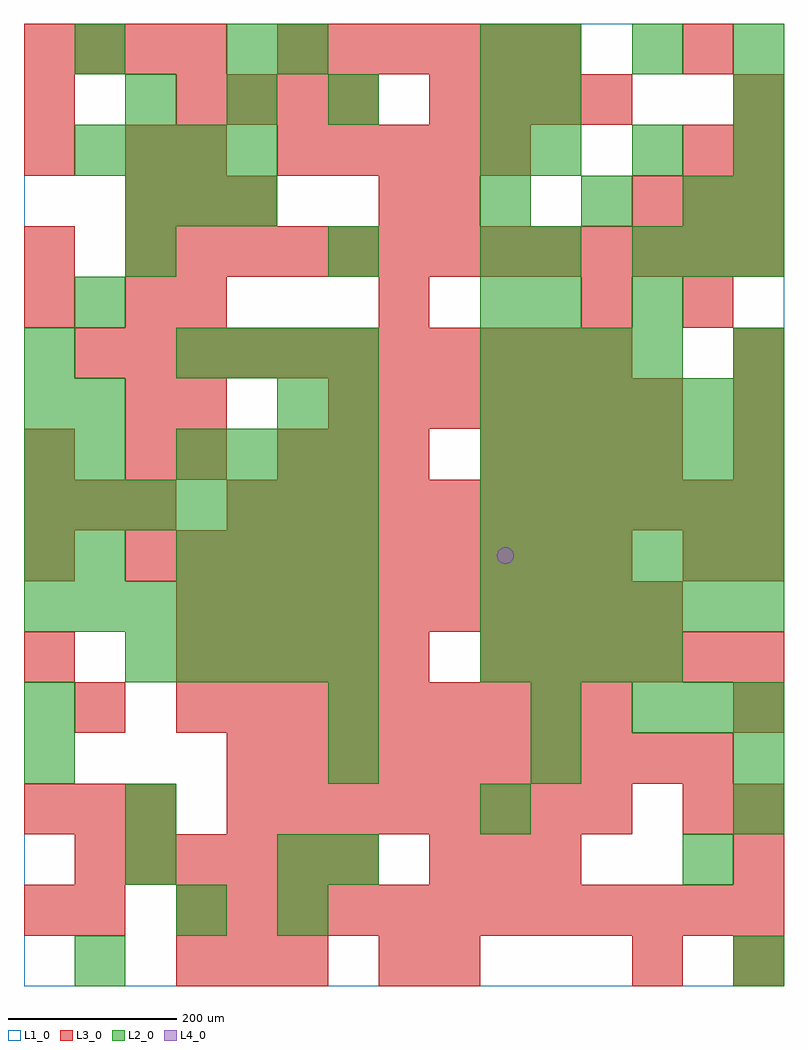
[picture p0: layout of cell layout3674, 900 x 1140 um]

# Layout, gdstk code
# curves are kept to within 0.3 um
import gdstk
lib = gdstk.Library(unit=1e-6, precision=1e-09)
def R(c, l, rs):  # rectangles x0, y0, x1, y1
    for r in rs: c.add(gdstk.rectangle(r[:2], r[2:], *l))
def A(c, l, x, y, w, h, nx, ny, dx, dy):  # array of equal rectangles
    R(c, l, [(x+i*dx, y+j*dy, x+i*dx+w, y+j*dy+h) for i in range(nx) for j in range(ny)])
def P(c, l, *ps):  # polygons
    for p in ps: c.add(gdstk.Polygon(p, *l))
L1_0 = (1, 0)
L2_0 = (2, 0)
L3_0 = (3, 0)
L4_0 = (4, 0)

layout3674 = lib.new_cell('layout3674')
R(layout3674, L1_0, [(0,0,900,1140)])
A(layout3674, L2_0, 360, 240, 60, 60, 3, 1, 240, 0)
A(layout3674, L2_0, 720, 300, 60, 60, 3, 2, 60, 540)
A(layout3674, L2_0, 120, 360, 60, 60, 5, 1, 60, 0)
A(layout3674, L2_0, 540, 360, 60, 60, 4, 2, 60, 360)
A(layout3674, L2_0, 0, 420, 60, 60, 7, 2, 60, 120)
A(layout3674, L2_0, 540, 420, 60, 60, 6, 5, 60, 60)
A(layout3674, L2_0, 180, 480, 60, 60, 4, 3, 60, 120)
A(layout3674, L2_0, 0, 600, 60, 60, 1, 3, 0, 60)
A(layout3674, L2_0, 120, 900, 60, 60, 3, 1, 60, 0)
A(layout3674, L2_0, 540, 900, 60, 60, 3, 1, 120, 0)
A(layout3674, L2_0, 60, 960, 60, 60, 4, 1, 60, 0)
A(layout3674, L2_0, 540, 960, 60, 60, 1, 3, 0, 60)
A(layout3674, L2_0, 600, 960, 60, 60, 3, 2, 120, 120)
A(layout3674, L2_0, 120, 1020, 60, 60, 3, 1, 120, 0)
R(layout3674, L2_0, [(60,0,120,60), (840,0,900,60), (180,60,240,120), (300,60,360,120), (120,120,180,180), (300,120,360,180), (360,120,420,180), (780,120,840,180), (120,180,180,240), (540,180,600,240), (840,180,900,240), (0,240,60,300), (0,300,60,360), (360,300,420,360), (600,300,660,360), (0,480,60,540), (60,480,120,540), (60,600,120,660), (60,660,120,720), (300,660,360,720), (360,660,420,720), (840,720,900,780), (60,780,120,840), (540,780,600,840), (600,780,660,840), (720,780,780,840), (120,840,180,900), (360,840,420,900), (540,840,600,900), (600,840,660,900), (840,900,900,960), (600,1020,660,1080), (840,1020,900,1080), (60,1080,120,1140), (240,1080,300,1140), (300,1080,360,1140)])
A(layout3674, L3_0, 180, 0, 60, 60, 3, 1, 60, 0)
A(layout3674, L3_0, 180, 60, 60, 60, 12, 1, 60, 0)
A(layout3674, L3_0, 60, 120, 60, 60, 6, 1, 60, 0)
A(layout3674, L3_0, 480, 120, 60, 60, 3, 1, 60, 0)
A(layout3674, L3_0, 0, 180, 60, 60, 3, 2, 60, 360)
A(layout3674, L3_0, 240, 180, 60, 60, 8, 1, 60, 0)
A(layout3674, L3_0, 780, 180, 60, 60, 1, 3, 0, 300)
A(layout3674, L3_0, 240, 240, 60, 60, 10, 1, 60, 0)
A(layout3674, L3_0, 180, 300, 60, 60, 9, 1, 60, 0)
A(layout3674, L3_0, 0, 360, 60, 60, 1, 3, 0, 120)
A(layout3674, L3_0, 180, 360, 60, 60, 5, 1, 60, 0)
A(layout3674, L3_0, 540, 360, 60, 60, 6, 1, 60, 0)
A(layout3674, L3_0, 180, 420, 60, 60, 10, 1, 60, 0)
A(layout3674, L3_0, 120, 480, 60, 60, 10, 1, 60, 0)
A(layout3674, L3_0, 240, 540, 60, 60, 11, 1, 60, 0)
A(layout3674, L3_0, 300, 600, 60, 60, 3, 1, 60, 0)
A(layout3674, L3_0, 540, 600, 60, 60, 4, 1, 60, 0)
A(layout3674, L3_0, 840, 600, 60, 60, 1, 3, 0, 60)
A(layout3674, L3_0, 360, 660, 60, 60, 7, 1, 60, 0)
A(layout3674, L3_0, 60, 720, 60, 60, 11, 1, 60, 0)
A(layout3674, L3_0, 180, 780, 60, 60, 3, 1, 240, 0)
A(layout3674, L3_0, 120, 840, 60, 60, 13, 1, 60, 0)
A(layout3674, L3_0, 120, 900, 60, 60, 3, 1, 60, 0)
A(layout3674, L3_0, 720, 900, 60, 60, 3, 1, 60, 0)
A(layout3674, L3_0, 300, 960, 60, 60, 5, 1, 60, 0)
A(layout3674, L3_0, 180, 1020, 60, 60, 4, 1, 60, 0)
A(layout3674, L3_0, 480, 1020, 60, 60, 4, 1, 60, 0)
A(layout3674, L3_0, 0, 1080, 60, 60, 4, 1, 60, 0)
A(layout3674, L3_0, 300, 1080, 60, 60, 6, 1, 60, 0)
R(layout3674, L3_0, [(420,0,480,60), (480,0,540,60), (720,0,780,60), (840,0,900,60), (0,60,60,120), (60,60,120,120), (840,120,900,180), (840,180,900,240), (60,300,120,360), (840,300,900,360), (840,480,900,540), (120,600,180,660), (180,600,240,660), (120,660,180,720), (180,660,240,720), (0,780,60,840), (120,780,180,840), (0,840,60,900), (420,900,480,960), (480,900,540,960), (0,960,60,1020), (120,960,180,1020), (180,960,240,1020), (780,960,840,1020), (840,960,900,1020), (0,1020,60,1080), (840,1020,900,1080), (780,1080,840,1140)])
P(layout3674, L4_0, [(580,510),(579.239,513.827),(577.071,517.071),(573.827,519.239),(570,520),(566.173,519.239),(562.929,517.071),(560.761,513.827),(560,510),(560.761,506.173),(562.929,502.929),(566.173,500.761),(570,500),(573.827,500.761),(577.071,502.929),(579.239,506.173)])

lib.write_gds('layout3674.gds')
